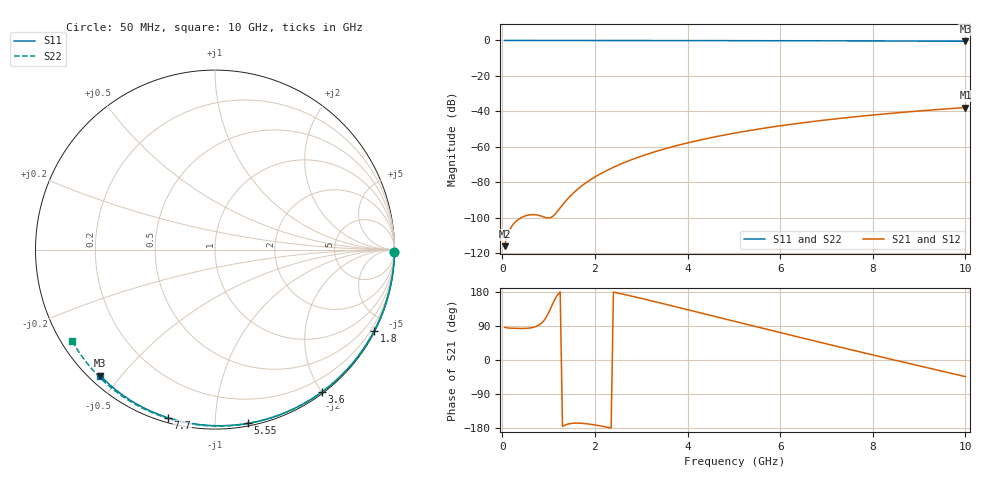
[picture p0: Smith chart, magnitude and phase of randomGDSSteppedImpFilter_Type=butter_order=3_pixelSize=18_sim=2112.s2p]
! freq	dB(S11)	phase(S11)	dB(S12)	phase(S12)
!  dB(S21)	phase(S21)	dB(S22)	phase(S22)
!S-par simulation data
#  GHz  S  DB  R 50
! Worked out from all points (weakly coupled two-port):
!   200 points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, 50 MHz to 10 GHz, reference 50 ohm
!   highest |S21| = -37.81 dB at 10 GHz (marker M1); lowest = -115.9 dB at 50 MHz (marker M2)
!   lowest |S11| = -0.4 dB at 10 GHz (marker M3), VSWR 38.98, Z = 1.53 - j22.1 ohm
!   |S11| at or under -10 dB: nowhere
!   |S22| runs from -0.5 to 0.0 dB; largest |S21 - S12| = 0
!   S11 on the Smith chart (normalised r, x): 50 MHz: open; 1.8 GHz: 0.04, -4.14; 3.6 GHz: 0.02, -2.00; 5.55 GHz: 0.02, -1.21; 7.7 GHz: 0.02, -0.76; 10 GHz: 0.03, -0.44
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0.05  -0.00 -0.8  -115.95 86.4  -115.95 86.4  -0.00 -0.9
0.45  -0.01 -6.9  -99.33 83.3  -99.33 83.3  -0.01 -7.7
0.9  -0.02 -13.7  -99.50 104.1  -99.50 104.1  -0.02 -15.4
1.3  -0.02 -19.7  -92.68 -175.5  -92.68 -175.5  -0.03 -22.1
1.75  -0.03 -26.4  -81.30 -167.4  -81.30 -167.4  -0.04 -29.6
1.8  -0.03 -27.2  -80.35 -168.0  -80.35 -168.0  -0.04 -30.4
1.85  -0.04 -27.9  -79.44 -168.7  -79.44 -168.7  -0.04 -31.3
2.05  -0.04 -30.8  -76.17 -172.4  -76.17 -172.4  -0.04 -34.6
2.2  -0.04 -33.0  -74.03 -175.8  -74.03 -175.8  -0.05 -37.0
2.5  -0.05 -37.4  -70.29 176.6  -70.29 176.6  -0.05 -41.9
2.9  -0.06 -43.2  -66.15 165.5  -66.15 165.5  -0.06 -48.3
3.4  -0.07 -50.3  -61.90 150.8  -61.90 150.8  -0.07 -56.2
3.6  -0.07 -53.1  -60.42 144.9  -60.42 144.9  -0.08 -59.3
4.3  -0.09 -62.7  -55.95 123.8  -55.95 123.8  -0.10 -70.0
5.05  -0.11 -72.7  -52.07 101.0  -52.07 101.0  -0.12 -81.0
5.55  -0.13 -79.2  -49.88 85.9  -49.88 85.9  -0.14 -88.2
6.1  -0.15 -86.2  -47.74 69.4  -47.74 69.4  -0.17 -95.9
6.7  -0.18 -93.7  -45.69 51.5  -45.69 51.5  -0.20 -104.2
7.7  -0.24 -105.7  -42.79 22.1  -42.79 22.1  -0.27 -117.5
8.35  -0.29 -113.4  -41.17 3.2  -41.17 3.2  -0.32 -126.1
9.2  -0.36 -123.2  -39.32 -21.1  -39.32 -21.1  -0.41 -137.1
10  -0.45 -132.3  -37.81 -43.9  -37.81 -43.9  -0.50 -147.5
